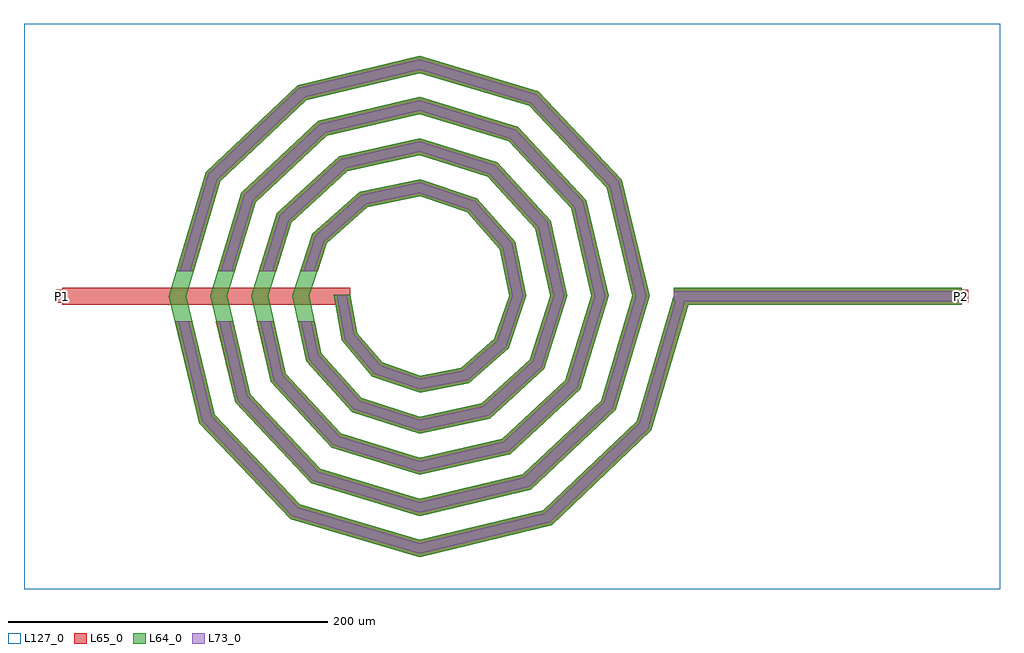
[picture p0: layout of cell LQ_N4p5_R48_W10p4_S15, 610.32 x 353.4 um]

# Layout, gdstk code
import gdstk
lib = gdstk.Library(unit=1e-6, precision=1e-09)
def R(c, l, rs):  # rectangles x0, y0, x1, y1
    for r in rs: c.add(gdstk.rectangle(r[:2], r[2:], *l))
def P(c, l, *ps):  # polygons
    for p in ps: c.add(gdstk.Polygon(p, *l))
L64_0 = (64, 0)
L65_0 = (65, 0)
L73_0 = (73, 0)
L127_0 = (127, 0)

lq_n4p5_r48_w10p4_s15 = lib.new_cell('LQ_N4p5_R48_W10p4_S15')
R(lq_n4p5_r48_w10p4_s15, L64_0, [(158.965,-5.2,338.965,5.2)])
P(lq_n4p5_r48_w10p4_s15, L64_0, [(-39.039,-23.028),(-23.38,-41.307),(0.39,-49.603),(26.197,-44.623),(46.846,-26.628),(56.024,0.35),(50.202,29.375),(29.869,52.389),(0.317,62.445),(-32.559,55.779),(-57.935,33.105),(-68.866,0.289),(-61.353,-35.747),(-36.337,-63.485),(0.266,-75.288),(38.939,-66.926),(69.036,-39.566),(81.711,0.247),(72.497,42.134),(42.792,74.589),(0.23,88.133),(-45.331,78.067),(-80.143,46.017),(-94.555,0.215),(-83.636,-48.53),(-49.24,-85.698),(0.202,-100.978),(51.731,-89.204),(91.255,-52.462),(107.4,0.191),(94.772,54.933),(55.682,96.811),(0.18,113.823),(-58.135,100.339),(-102.369,58.902),(-120.246,0.171),(-105.906,-61.339),(-62.12,-107.927),(0.163,-126.668),(64.543,-111.472),(113.485,-65.338),(133.091,0.155),(117.038,67.748),(68.556,119.044),(0.148,139.514),(-70.954,122.604),(-124.603,71.773),(-145.937,0.142),(-128.169,-74.16),(-74.99,-130.162),(0.136,-152.36),(77.367,-133.734),(135.722,-78.206),(159.176,1.468),(169.153,-1.468),(144.911,-83.818),(82.516,-143.19),(0.136,-163.123),(-80.611,-139.346),(-137.631,-79.299),(-156.7,0.142),(-133.78,77.405),(-76.083,132.071),(0.148,150.277),(74.199,128.214),(126.512,72.865),(143.854,0.155),(122.648,-70.993),(69.647,-120.953),(0.163,-137.431),(-67.788,-117.082),(-115.394,-66.429),(-131.008,0.171),(-111.515,64.584),(-63.209,109.836),(0.18,124.585),(61.381,105.947),(104.279,59.989),(118.161,0.191),(100.379,-58.178),(56.768,-98.721),(0.202,-111.738),(-54.977,-94.811),(-93.165,-53.546),(-105.315,0.215),(-89.241,51.777),(-50.322,87.609),(0.23,98.891),(48.579,83.67),(82.054,47.096),(92.468,0.247),(78.098,-45.382),(43.868,-76.5),(0.266,-86.044),(-42.188,-72.525),(-70.948,-40.637),(-79.62,0.289),(-66.949,38.997),(-37.403,65.397),(0.317,73.196),(35.81,61.371),(59.849,34.164),(66.771,0.35),(55.789,-32.629),(30.918,-54.304),(0.39,-60.346),(-29.454,-50.203),(-48.762,-27.664),(-53.666,0.938),(-43.437,0.938)])
R(lq_n4p5_r48_w10p4_s15, L65_0, [(-223.351,-5.2,-43.351,5.2), (158.965,-5.2,338.965,5.2), (-227.351,-4,-219.351,4), (334.965,-4,342.965,4)])
P(lq_n4p5_r48_w10p4_s15, L65_0, [(-128.169,-74.16),(-74.99,-130.162),(0.136,-152.36),(77.367,-133.734),(135.722,-78.206),(159.176,1.469),(169.153,-1.469),(144.911,-83.818),(82.516,-143.191),(0.136,-163.124),(-80.611,-139.346),(-137.631,-79.299),(-152.922,-15.6),(-142.226,-15.6)],
  [(-105.906,-61.339),(-62.12,-107.927),(0.163,-126.668),(64.543,-111.472),(113.485,-65.338),(133.091,0.155),(117.038,67.749),(68.556,119.044),(0.148,139.514),(-70.954,122.604),(-124.603,71.773),(-141.267,15.6),(-152.115,15.6),(-133.78,77.405),(-76.083,132.071),(0.148,150.277),(74.199,128.214),(126.512,72.865),(143.854,0.155),(122.648,-70.993),(69.647,-120.953),(0.163,-137.431),(-67.788,-117.082),(-115.395,-66.429),(-127.311,-15.6),(-116.629,-15.6)],
  [(-83.636,-48.53),(-49.24,-85.698),(0.202,-100.978),(51.731,-89.204),(91.255,-52.462),(107.4,0.191),(94.772,54.933),(55.682,96.811),(0.18,113.823),(-58.135,100.339),(-102.369,58.902),(-115.473,15.6),(-126.339,15.6),(-111.515,64.584),(-63.209,109.836),(0.18,124.585),(61.381,105.947),(104.279,59.989),(118.161,0.191),(100.379,-58.178),(56.768,-98.721),(0.202,-111.738),(-54.977,-94.811),(-93.165,-53.546),(-101.741,-15.6),(-91.078,-15.6)],
  [(-61.353,-35.747),(-36.337,-63.485),(0.266,-75.288),(38.939,-66.926),(69.036,-39.566),(81.711,0.247),(72.497,42.134),(42.792,74.589),(0.23,88.133),(-45.331,78.067),(-80.143,46.017),(-89.625,15.6),(-100.519,15.6),(-89.241,51.777),(-50.322,87.609),(0.23,98.891),(48.579,83.67),(82.054,47.096),(92.468,0.247),(78.099,-45.382),(43.868,-76.5),(0.266,-86.044),(-42.188,-72.525),(-70.948,-40.637),(-76.253,-15.6),(-65.622,-15.6)],
  [(-23.38,-41.307),(0.391,-49.603),(26.197,-44.623),(46.846,-26.628),(56.024,0.35),(50.202,29.375),(29.869,52.389),(0.317,62.445),(-32.559,55.779),(-57.935,33.105),(-63.665,15.6),(-74.608,15.6),(-66.949,38.997),(-37.403,65.397),(0.317,73.196),(35.81,61.371),(59.849,34.164),(66.771,0.35),(55.789,-32.629),(30.918,-54.304),(0.391,-60.346),(-29.454,-50.203),(-48.762,-27.664),(-53.666,0.938),(-43.437,0.938),(-39.039,-23.028)])
R(lq_n4p5_r48_w10p4_s15, L73_0, [(158.965,-3.2,338.965,3.2)])
P(lq_n4p5_r48_w10p4_s15, L73_0, [(-129.988,-75.149),(-76.071,-131.928),(0.084,-154.43),(78.357,-135.553),(137.489,-79.285),(161.095,0.904),(167.234,0.904),(143.144,-82.739),(81.526,-141.372),(0.084,-161.054),(-79.53,-137.58),(-135.811,-78.311),(-150.865,-15.6),(-144.283,-15.6)],
  [(-107.731,-62.318),(-63.21,-109.687),(0.1,-128.738),(65.525,-113.295),(115.247,-66.426),(135.161,0.096),(118.86,68.733),(69.641,120.807),(0.091,141.584),(-71.94,124.424),(-126.368,72.856),(-143.353,15.6),(-150.029,15.6),(-132.015,76.322),(-75.096,130.251),(0.091,148.207),(73.114,126.451),(124.69,71.881),(141.784,0.096),(120.886,-69.906),(68.666,-119.13),(0.1,-135.361),(-66.698,-115.321),(-113.57,-65.45),(-125.256,-15.6),(-118.683,-15.6)],
  [(-85.468,-49.495),(-50.343,-87.451),(0.124,-103.047),(52.7,-91.035),(93.009,-53.561),(109.47,0.117),(96.6,55.905),(56.778,98.568),(0.111,115.893),(-59.111,102.166),(-104.128,59.994),(-117.563,15.6),(-124.249,15.6),(-109.756,63.491),(-62.234,108.01),(0.111,122.515),(60.285,104.191),(102.45,59.017),(116.092,0.117),(98.625,-57.079),(55.799,-96.891),(0.124,-109.669),(-53.874,-93.058),(-91.332,-52.581),(-99.69,-15.6),(-93.129,-15.6)],
  [(-63.198,-36.688),(-37.462,-65.223),(0.164,-77.357),(39.887,-68.767),(70.779,-40.684),(83.779,0.152),(74.335,43.088),(43.905,76.335),(0.141,90.202),(-46.291,79.902),(-81.893,47.125),(-91.72,15.6),(-98.424,15.6),(-87.492,50.669),(-49.362,85.774),(0.141,96.822),(47.466,81.924),(80.216,46.142),(90.399,0.152),(76.356,-44.264),(42.92,-74.659),(0.164,-83.976),(-41.063,-70.787),(-69.103,-39.697),(-74.209,-15.6),(-67.667,-15.6)],
  [(-24.548,-43.018),(0.24,-51.669),(27.105,-46.485),(48.566,-27.782),(58.09,0.215),(52.058,30.296),(31.012,54.116),(0.195,64.512),(-33.49,57.629),(-59.669,34.238),(-65.77,15.6),(-72.504,15.6),(-65.216,37.864),(-36.471,63.548),(0.195,71.128),(34.668,59.644),(57.994,33.243),(64.704,0.215),(54.07,-31.475),(30.01,-52.442),(0.24,-58.28),(-28.286,-48.492),(-46.893,-26.773),(-51.699,0.578),(-45.404,0.578),(-40.909,-23.92)])
R(lq_n4p5_r48_w10p4_s15, L127_0, [(-247.351,-183.124,362.965,170.277)])
lq_n4p5_r48_w10p4_s15.add(gdstk.Label('P2', (338.965,0), layer=65, texttype=0))
lq_n4p5_r48_w10p4_s15.add(gdstk.Label('P1', (-223.351,0), layer=65, texttype=0))
lq_n4p5_r48_w10p4_s15.add(gdstk.Label('P2', (342.965,0), layer=145, texttype=0))
lq_n4p5_r48_w10p4_s15.add(gdstk.Label('P1', (-227.351,0), layer=145, texttype=0))

lib.write_gds('LQ_N4p5_R48_W10p4_S15.gds')
